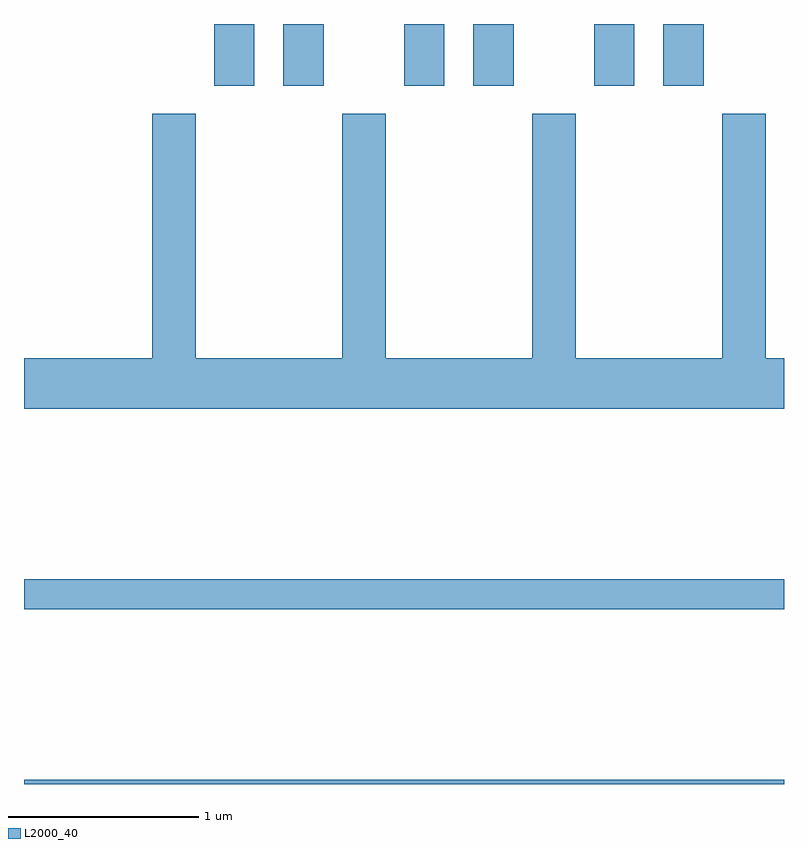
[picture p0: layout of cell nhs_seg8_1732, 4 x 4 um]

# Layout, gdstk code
import gdstk
lib = gdstk.Library(unit=1e-6, precision=1e-09)
def R(c, l, rs):  # rectangles x0, y0, x1, y1
    for r in rs: c.add(gdstk.rectangle(r[:2], r[2:], *l))
def P(c, l, *ps):  # polygons
    for p in ps: c.add(gdstk.Polygon(p, *l))
L2000_40 = (2000, 40)

nhs_seg8_1732 = lib.new_cell('nhs_seg8_1732')
R(nhs_seg8_1732, L2000_40, [(235.611,1934.342,239.611,1934.364), (235.611,1935.261,239.611,1935.419), (236.611,1938.016,236.824,1938.342), (236.976,1938.016,237.189,1938.342), (237.611,1938.016,237.824,1938.342), (237.976,1938.016,238.189,1938.342), (238.611,1938.016,238.824,1938.342), (238.976,1938.016,239.189,1938.342)])
P(nhs_seg8_1732, L2000_40, [(239.611,1936.584),(239.514,1936.584),(239.514,1937.869),(239.286,1937.869),(239.286,1936.584),(238.514,1936.584),(238.514,1937.869),(238.286,1937.869),(238.286,1936.584),(237.514,1936.584),(237.514,1937.869),(237.286,1937.869),(237.286,1936.584),(236.514,1936.584),(236.514,1937.869),(236.286,1937.869),(236.286,1936.584),(235.611,1936.584),(235.611,1936.316),(239.611,1936.316)])

lib.write_gds('nhs_seg8_1732.gds')
